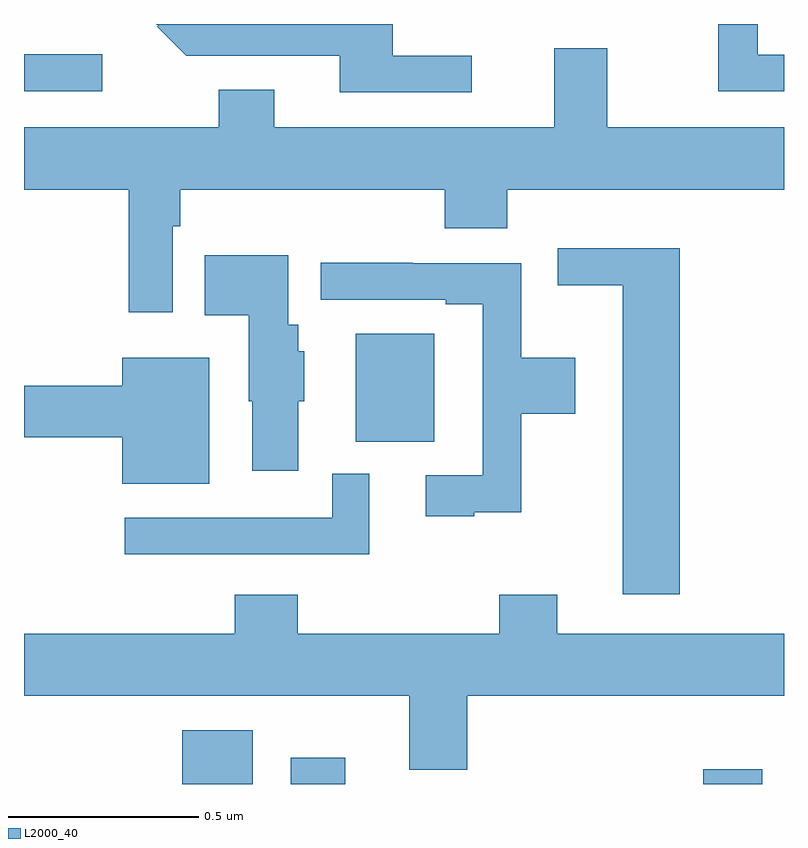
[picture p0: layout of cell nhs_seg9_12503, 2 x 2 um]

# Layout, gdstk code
import gdstk
lib = gdstk.Library(unit=1e-6, precision=1e-09)
def R(c, l, rs):  # rectangles x0, y0, x1, y1
    for r in rs: c.add(gdstk.rectangle(r[:2], r[2:], *l))
def P(c, l, *ps):  # polygons
    for p in ps: c.add(gdstk.Polygon(p, *l))
L2000_40 = (2000, 40)

nhs_seg9_12503 = lib.new_cell('nhs_seg9_12503')
R(nhs_seg9_12503, L2000_40, [(269.417,1217.5,269.602,1217.641), (269.702,1217.5,269.845,1217.569), (270.787,1217.5,270.943,1217.539), (269.873,1218.401,270.079,1218.685), (269,1219.323,269.206,1219.42)])
P(nhs_seg9_12503, L2000_40, [(271,1219.419),(270.931,1219.419),(270.931,1219.5),(270.827,1219.5),(270.827,1219.323),(271,1219.323)],
  [(270.178,1219.416),(269.971,1219.416),(269.971,1219.5),(269.348,1219.5),(269.353,1219.495),(269.351,1219.493),(269.427,1219.416),(269.831,1219.416),(269.831,1219.32),(270.178,1219.32)],
  [(269.391,1218.968),(269.411,1218.968),(269.411,1219.064),(270.107,1219.064),(270.107,1218.962),(270.272,1218.962),(270.272,1219.064),(271,1219.064),(271,1219.228),(270.535,1219.228),(270.535,1219.436),(270.395,1219.436),(270.395,1219.228),(269.659,1219.228),(269.659,1219.327),(269.512,1219.327),(269.512,1219.228),(269,1219.228),(269,1219.064),(269.275,1219.064),(269.275,1218.741),(269.391,1218.741)],
  [(270.725,1218.91),(270.405,1218.91),(270.405,1218.812),(270.575,1218.812),(270.575,1218),(270.725,1218)],
  [(269.722,1218.507),(269.737,1218.507),(269.737,1218.639),(269.722,1218.639),(269.722,1218.708),(269.695,1218.708),(269.695,1218.892),(269.476,1218.892),(269.476,1218.734),(269.591,1218.734),(269.591,1218.507),(269.6,1218.507),(269.6,1218.324),(269.722,1218.324)],
  [(270.185,1218.215),(270.308,1218.215),(270.308,1218.475),(270.451,1218.475),(270.451,1218.622),(270.308,1218.622),(270.308,1218.87),(270.023,1218.87),(270.023,1218.872),(269.781,1218.872),(269.781,1218.774),(270.11,1218.774),(270.11,1218.762),(270.207,1218.762),(270.207,1218.312),(270.057,1218.312),(270.057,1218.204),(270.185,1218.204)],
  [(269.488,1218.622),(269.258,1218.622),(269.258,1218.548),(269,1218.548),(269,1218.412),(269.258,1218.412),(269.258,1218.29),(269.488,1218.29)],
  [(269.908,1218.316),(269.811,1218.316),(269.811,1218.201),(269.265,1218.201),(269.265,1218.105),(269.908,1218.105)],
  [(269.555,1217.998),(269.555,1217.896),(269,1217.896),(269,1217.732),(270.014,1217.732),(270.014,1217.538),(270.167,1217.538),(270.167,1217.732),(271,1217.732),(271,1217.896),(270.403,1217.896),(270.403,1217.998),(270.251,1217.998),(270.251,1217.896),(269.72,1217.896),(269.72,1217.998)])

lib.write_gds('nhs_seg9_12503.gds')
